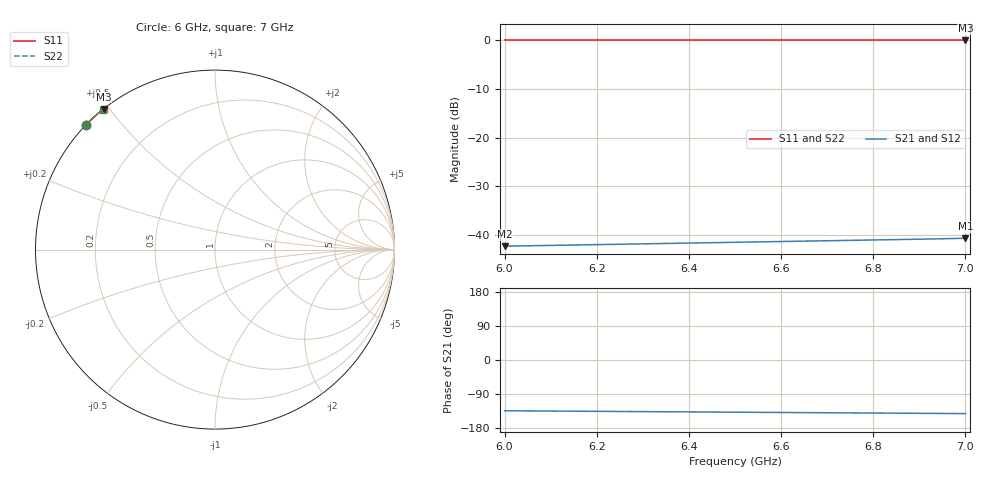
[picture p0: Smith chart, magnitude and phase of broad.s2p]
! Touchstone file exported from HFSS 2021.2.0
!  File:  D:/Jay PhD/Code/Christian Andersen lab metal/andersen-lab-qiskit-metal-7ffcf333120ae557fdd8582a17358975285c58c2/SQL HFSS/Design7_Tunable_Transmon/simulation/aedt/D7.aedt
!  Generated:  8:42:38 %x4E0B%x5348  %x5341%x4E00%x6708 22, 2026
!  Design:  R_7599
!  Project:  D7
!  Setup:  Setup1
!  Solution:  SweepBroad
# GHz S MA R 50.000000
! Terminal data exported
! Port[1] = LumpPort_feedline_end
! Port[2] = LumpPort_feedline_start
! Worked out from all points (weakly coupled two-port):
!   1001 points, 6 GHz to 7 GHz, reference 50 ohm
!   highest |S21| = -40.75 dB at 7 GHz (marker M1); lowest = -42.4 dB at 6 GHz (marker M2)
!   lowest |S11| = 0.0 dB at 7 GHz (marker M3)
!   |S11| at or under -10 dB: nowhere
!   |S22| runs from 0.0 to 0.0 dB; largest |S21 - S12| = 1.6e-16
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6  1 135.9  0.007606 -134.0  0.007606 -134.0  1 136.1
! Gamma 0 0 0 0
! Port Impedance 50 0 50 0
6.005  1 135.8  0.007613 -134.0  0.007613 -134.0  1 136.1
6.025  1 135.7  0.00764 -134.2  0.00764 -134.2  1 136.0
6.096  1 135.2  0.007739 -134.7  0.007739 -134.7  1 135.4
6.167  1 134.6  0.007838 -135.2  0.007838 -135.2  1 134.9
6.25  1 134.0  0.007955 -135.8  0.007955 -135.8  1 134.3
6.334  1 133.4  0.008074 -136.5  0.008074 -136.5  1 133.7
6.417  1 132.8  0.008194 -137.1  0.008194 -137.1  1 133.0
6.5  1 132.1  0.008316 -137.7  0.008316 -137.7  1 132.4
6.591  1 131.5  0.008454 -138.4  0.008454 -138.4  1 131.8
6.667  1 130.9  0.008572 -139.0  0.008572 -139.0  1 131.2
6.715  1 130.5  0.008648 -139.3  0.008648 -139.3  1 130.8
6.758  1 130.2  0.008719 -139.6  0.008719 -139.6  1 130.5
6.798  1 129.9  0.008786 -139.9  0.008786 -139.9  1 130.2
6.834  1 129.6  0.008849 -140.2  0.008849 -140.2  1 130.0
6.878  1 129.3  0.008928 -140.5  0.008928 -140.5  1 129.6
6.918  1 129.0  0.009004 -140.8  0.009004 -140.8  1 129.3
6.958  1 128.7  0.009085 -141.1  0.009085 -141.1  1 129.0
6.977  1 128.6  0.009125 -141.3  0.009125 -141.3  1 128.9
6.995  1 128.4  0.009165 -141.4  0.009165 -141.4  1 128.8
6.998  1 128.4  0.009171 -141.4  0.009171 -141.4  1 128.7
7  1 128.4  0.009176 -141.4  0.009176 -141.4  1 128.7
